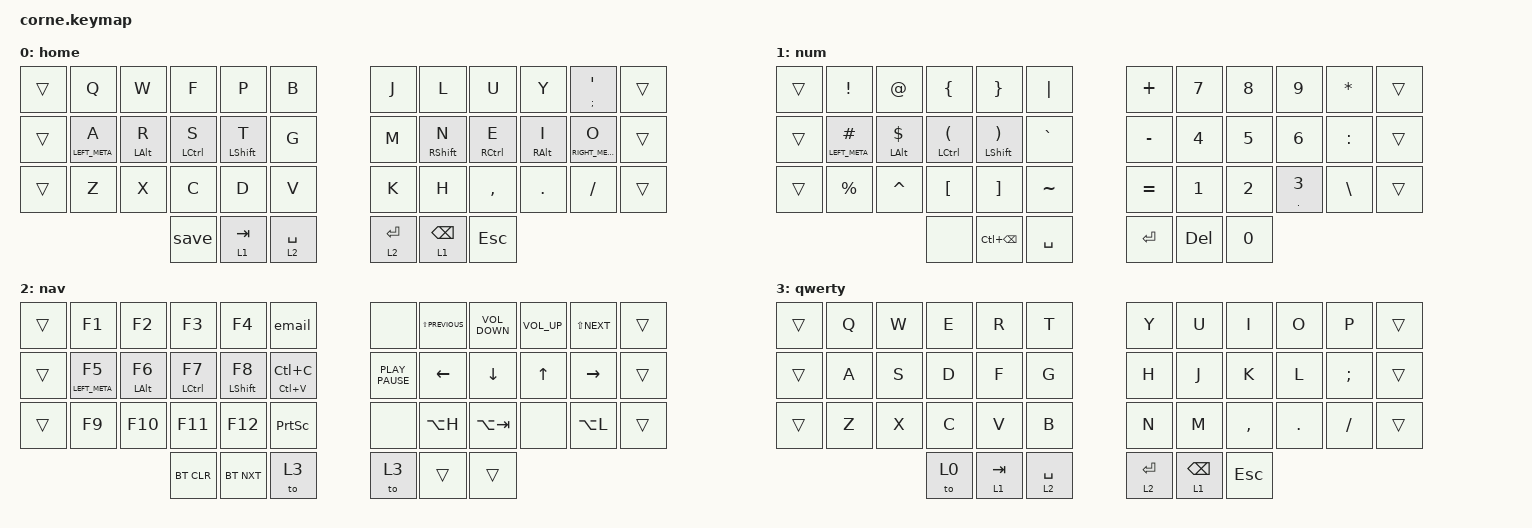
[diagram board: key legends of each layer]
/*
 * Copyright (c) 2020 The ZMK Contributors
 *
 * SPDX-License-Identifier: MIT
 */

#include <behaviors.dtsi>
#include <dt-bindings/zmk/bt.h>
#include <dt-bindings/zmk/keys.h>

/ {
    behaviors {
        hm: homerow_mods {
            compatible = "zmk,behavior-hold-tap";
            label = "HOMEROW_MODS";
            bindings = <&kp>, <&kp>;

            #binding-cells = <2>;
            tapping-term-ms = <200>;
            flavor = "tap-preferred";
            require-prior-idle-ms = <125>;
            quick-tap-ms = <200>;
        };

        shifthr: shifthr {
            compatible = "zmk,behavior-hold-tap";
            label = "SHIFTHR";
            bindings = <&kp>, <&kp>;

            #binding-cells = <2>;
            tapping-term-ms = <185>;
            flavor = "tap-preferred";
            quick-tap-ms = <185>;
        };

        weak: weak {
            compatible = "zmk,behavior-hold-tap";
            label = "WEAK";
            bindings = <&kp>, <&kp>;

            #binding-cells = <2>;
            tapping-term-ms = <230>;
            flavor = "tap-preferred";
            require-prior-idle-ms = <125>;
            quick-tap-ms = <230>;
        };

        backspace: backspace {
            compatible = "zmk,behavior-tap-dance";
            label = "BACKSPACE";
            #binding-cells = <0>;
            bindings = <&kp BACKSPACE>, <&kp LC(BACKSPACE)>;
        };
    };

    combos {
        compatible = "zmk,combos";

        escape {
            bindings = <&kp ESCAPE>;
            key-positions = <16 19>;
        };

        under {
            bindings = <&kp UNDER>;
            key-positions = <28 31>;
        };

        dash {
            bindings = <&kp MINUS>;
            key-positions = <4 7>;
        };

        capsword {
            bindings = <&caps_word>;
            key-positions = <13 22>;
        };
    };

    macros {
        save: save {
            compatible = "zmk,behavior-macro";
            #binding-cells = <0>;
            bindings = <&macro_tap>, <&kp ESCAPE &kp COLON &kp W &kp ENTER>;

            label = "SAVE";
        };

        email: email {
            compatible = "zmk,behavior-macro";
            #binding-cells = <0>;
            bindings = <&none &kp A &kp DOT &kp R &kp O &kp B &kp S &kp N1 &kp N0 &kp N0 &kp AT &kp G &kp M &kp A &kp I &kp L &kp DOT &kp C &kp O &kp M>;
            label = "EMAIL";
        };
    };

    keymap {
        compatible = "zmk,keymap";

        home {
            // -----------------------------------------------------------------------------------------
            // |  TAB |  Q  |  W  |  E  |  R  |  T  |   |  Y  |  U   |  I  |  O  |  P  | BKSP |
            // | CTRL |  A  |  S  |  D  |  F  |  G  |   |  H  |  J   |  K  |  L  |  ;  |  '   |
            // | SHFT |  Z  |  X  |  C  |  V  |  B  |   |  N  |  M   |  ,  |  .  |  /  | ESC  |
            //                    | GUI | LWR | SPC |   | ENT | RSE  | ALT |

            bindings = <
&trans  &kp Q              &kp W             &kp F                    &kp P                  &kp B          &kp J      &kp L              &kp U             &kp Y              &hm SEMICOLON APOSTROPHE  &trans
&trans  &weak LEFT_META A  &weak LEFT_ALT R  &shifthr LEFT_CONTROL S  &shifthr LEFT_SHIFT T  &kp G          &kp M      &shifthr RSHIFT N  &shifthr RCTRL E  &weak RIGHT_ALT I  &weak RIGHT_META O        &trans
&trans  &kp Z              &kp X             &kp C                    &kp D                  &kp V          &kp K      &kp H              &kp COMMA         &kp DOT            &kp SLASH                 &trans
                                             &save                    &lt 1 TAB              &lt 2 SPACE    &lt 2 RET  &lt 1 BACKSPACE    &kp ESCAPE
            >;

            label = "home";
        };

        num {
            // -----------------------------------------------------------------------------------------
            // |  TAB |  !  |  @  |  #  |  $  |  %  |   |  ^  |  &  |  *  |  (  |  )  | BKSP |
            // | CTRL |     |     |     |     |     |   |  -  |  =  |  [  |  ]  |  \  |  `   |
            // | SHFT |     |     |     |     |     |   |  _  |  +  |  {  |  }  | "|" |  ~   |
            //                    | GUI |     | SPC |   | ENT |     | ALT |

            bindings = <
&trans  &kp EXCL            &kp AT               &kp LEFT_BRACE              &kp RIGHT_BRACE                   &kp PIPE     &kp PLUS   &kp NUMBER_7  &kp N8        &kp N9                    &kp ASTERISK   &trans
&trans  &hm LEFT_META HASH  &hm LEFT_ALT DOLLAR  &hm LCTRL LEFT_PARENTHESIS  &hm LEFT_SHIFT RIGHT_PARENTHESIS  &kp GRAVE    &kp MINUS  &kp NUMBER_4  &kp NUMBER_5  &kp NUMBER_6              &kp COLON      &trans
&trans  &kp PERCENT         &kp CARET            &kp LEFT_BRACKET            &kp RIGHT_BRACKET                 &kp TILDE    &kp EQUAL  &kp NUMBER_1  &kp NUMBER_2  &shifthr PERIOD NUMBER_3  &kp BACKSLASH  &trans
                                                 &none                       &kp LC(BACKSPACE)                 &kp SPACE    &kp RET    &kp DELETE    &kp N0
            >;

            label = "num";
        };

        nav {
            bindings = <
&trans  &kp F1            &kp F2           &kp F3        &kp F4             &email             &none             &kp LS(K_PREVIOUS)  &kp C_VOLUME_DOWN  &kp C_VOLUME_UP  &kp LS(K_NEXT)  &trans
&trans  &hm LEFT_META F5  &hm LEFT_ALT F6  &hm LCTRL F7  &hm LEFT_SHIFT F8  &hm LC(V) LC(C)    &kp K_PLAY_PAUSE  &kp LEFT            &kp DOWN           &kp UP           &kp RIGHT       &trans
&trans  &kp F9            &kp F10          &kp F11       &kp F12            &kp PSCRN          &none             &kp LA(H)           &kp LA(TAB)        &none            &kp LA(L)       &trans
                                           &bt BT_CLR    &bt BT_NXT         &to 3              &to 3             &trans              &trans
            >;

            label = "nav";
        };

        qwerty {
            bindings = <
&trans  &kp Q  &kp W  &kp E  &kp R      &kp T          &kp Y         &kp U            &kp I      &kp O    &kp P     &trans
&trans  &kp A  &kp S  &kp D  &kp F      &kp G          &kp H         &kp J            &kp K      &kp L    &kp SEMI  &trans
&trans  &kp Z  &kp X  &kp C  &kp V      &kp B          &kp N         &kp M            &kp COMMA  &kp DOT  &kp FSLH  &trans
                      &to 0  &lt 1 TAB  &lt 2 SPACE    &lt 2 RETURN  &lt 1 BACKSPACE  &kp ESC
            >;

            label = "qwerty";
        };
    };
};
